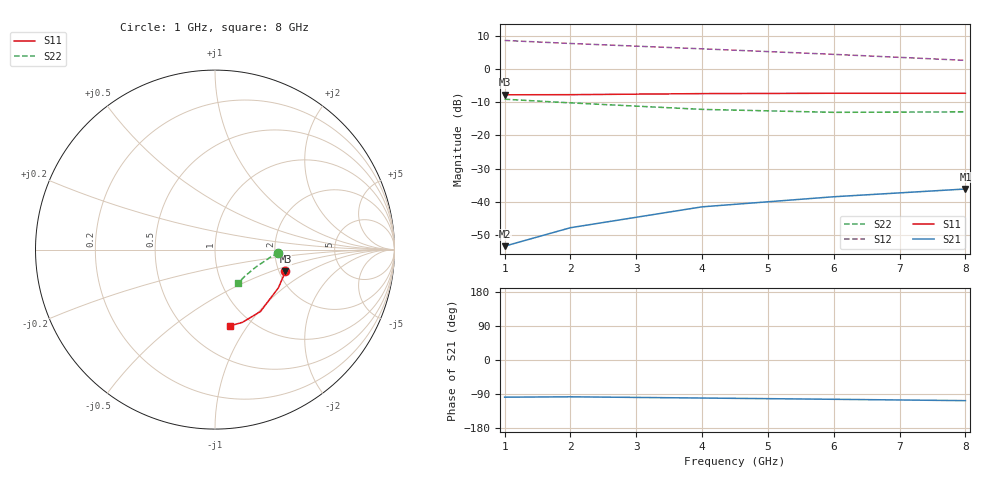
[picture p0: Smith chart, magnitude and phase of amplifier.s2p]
! 2-port S-parameter data
! Device: Low-noise amplifier
! Format: Real-Imaginary
# GHZ S RI R 50
! Freq S11(Re) S11(Im) S21(Re) S21(Im) S12(Re) S12(Im) S22(Re) S22(Im)
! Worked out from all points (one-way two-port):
!   5 points, 1 GHz to 8 GHz, reference 50 ohm
!   highest |S21| = -36.19 dB at 8 GHz (marker M1); lowest = -53.5 dB at 1 GHz (marker M2)
!   lowest |S11| = -7.7 dB at 1 GHz (marker M3), VSWR 2.39, Z = 108 - j31.6 ohm
!   |S11| at or under -10 dB: nowhere
!   |S22| runs from -13.0 to -9.1 dB; largest |S21 - S12| = 2.7
1  0.3926 -0.1211  -0.0003 -0.0021  2.692 0.3871  0.3517 -0.0178
2  0.3531 -0.2131  -0.0005 -0.004  2.305 0.8257  0.3071 -0.0433
4  0.2531 -0.3451  -0.0015 -0.0082  1.685 1.136  0.2271 -0.0978
6  0.1531 -0.4051  -0.0028 -0.0115  1.165 1.206  0.1671 -0.1478
8  0.0831 -0.4251  -0.0046 -0.0148  0.7649 1.126  0.1271 -0.1878
